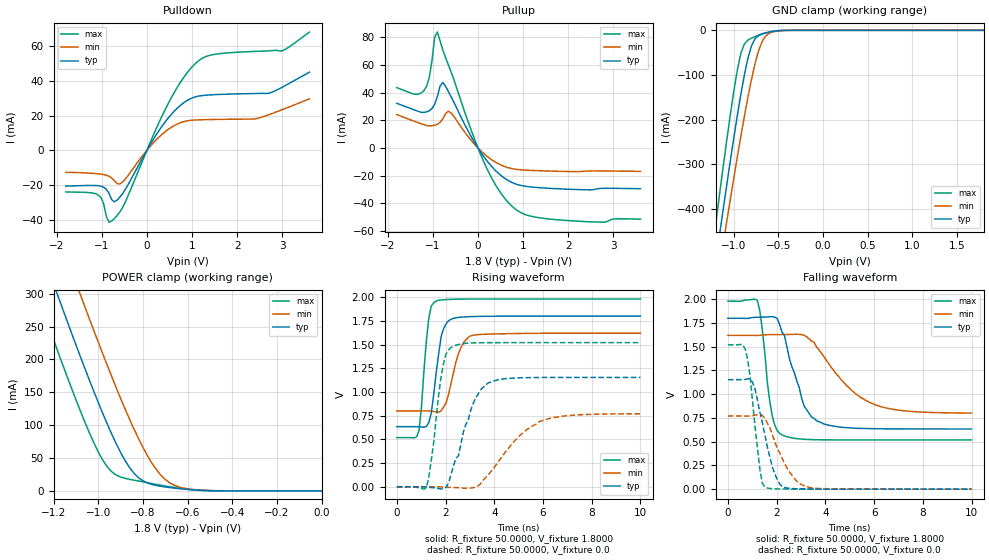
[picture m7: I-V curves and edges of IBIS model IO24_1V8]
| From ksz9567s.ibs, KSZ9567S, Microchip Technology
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|   Model IO24_1V8
[Model]  IO24_1V8
Model_type I/O
Polarity   Non-Inverting
Enable   Active-High
Vinl =   0.3000V
Vinh =   1.5000V
Vmeas =  0.9000V
Vref =   0.0V
C_comp   1.5000pF   1.4000pF   1.7000pF
[Temperature Range]   42.0000   0.1250k   -40.0000
[Voltage Range]   1.8000V   1.6200V   1.9800V
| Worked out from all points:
|   slope of the pulldown table from 0 to 0.27 V, typ, clamps not added: 23.6 ohm
|   slope of the pullup table from 0 to 0.27 V, typ, clamps not added: 22.3 ohm
|   GND clamp passes 1 mA (typ) near -0.50 V on its own axis
|   POWER clamp passes 1 mA (typ) near -0.54 V on its own axis
|   rising waveform, R_fixture 50.0000, V_fixture 1.8000: 20-80 % time 350ps typ, 502ps min, 274ps max; typ from 0.634 V to 1.8 V
|   rising waveform, R_fixture 50.0000, V_fixture 0.0: 20-80 % time 871ps typ, 1.57ns min, 429ps max; typ from 0 V to 1.15 V
|   falling waveform, R_fixture 50.0000, V_fixture 1.8000: 20-80 % time 787ps typ, 1.69ns min, 386ps max; typ from 1.8 V to 0.634 V
|   falling waveform, R_fixture 50.0000, V_fixture 0.0: 20-80 % time 604ps typ, 843ps min, 374ps max; typ from 1.15 V to 0 V
[Pulldown]
|Voltage   I(typ)   I(min)   I(max)
-1.8V     -20.68mA   -12.73mA   -24.06mA
-1.08V    -20.48mA   -13.6mA    -25.79mA
-960mV    -21.31mA   -14.05mA   -30.81mA
-840mV    -24.97mA   -15mA      -41.52mA
-780mV    -28.55mA   -15.99mA   -40.76mA
-540mV    -25.06mA   -18.33mA   -33.04mA
480mV     18.87mA    12.2mA     27.35mA
1.08V     30.86mA    17.49mA    50.21mA
1.5V      32.1mA     17.78mA    55.36mA
2.7V      32.93mA    20.5mA     57.4mA
3.06V     37.27mA    24.07mA    58.15mA
3.6V      45.07mA    29.7mA     68.21mA
[Pullup]
|Voltage   I(typ)   I(min)   I(max)
-1.8V     32.36mA    24.21mA    43.7mA
-1.2V     25.82mA    16.95mA    41.47mA
-1.08V    27.03mA    16.09mA    51.07mA
-960mV    31.7mA     16.47mA    80.28mA
-900mV    37.4mA     17.2mA     83.88mA
-780mV    47.46mA    21.19mA    70.95mA
-600mV    37.26mA    25.51mA    55.28mA
60mV      -3.015mA   -1.949mA   -4.832mA
360mV     -15.38mA   -9.681mA   -25.1mA
720mV     -24.41mA   -14.67mA   -41.07mA
1.56V     -29.12mA   -16.63mA   -51.25mA
3.6V      -29.42mA   -16.87mA   -51.46mA
[GND_clamp]
|Voltage   I(typ)   I(min)   I(max)
-1.8V     -1.402A    -1.382A    -1.408A
-1.2V     -519mA     -585.5mA   -433.8mA
-1.16V    -462.4mA   -534.2mA   -371.8mA
-1.12V    -406.4mA   -483.2mA   -310.8mA
-1.08V    -351.1mA   -432.8mA   -251.2mA
-960mV    -193.1mA   -285.7mA   -90.91mA
-920mV    -144.7mA   -238.8mA   -52.72mA
-840mV    -62.73mA   -150.4mA   -21.84mA
-720mV    -11.33mA   -45.61mA   -11.09mA
-640mV    -5.456mA   -12.39mA   -5.874mA
-560mV    -2.331mA   -3.309mA   -2.15mA
1.8V      122.4pA    185.7nA    65.4pA
[POWER_clamp]
|Voltage   I(typ)   I(min)   I(max)
-1.8V     881.4mA    962mA      809.5mA
-1.28V    390.7mA    482.8mA    306.2mA
-1.26V    371.8mA    464.4mA    287.1mA
-1.18V    296.5mA    390.8mA    211.5mA
-1.08V    204.5mA    298.8mA    121.8mA
-980mV    118.3mA    209mA      47.15mA
-920mV    72.28mA    157.6mA    24.3mA
-820mV    20.24mA    80mA       15.13mA
-740mV    8.328mA    32.55mA    9.886mA
-660mV    4.362mA    8.687mA    5.257mA
-500mV    405.6uA    618.3uA    222.8uA
0V        122.4pA    2.413nA    84.24pA
[Ramp]
| variable   typ   min   max
dV/dt_r  0.6920/0.8389n   0.4618/1.5375n   0.9123/0.4125n
dV/dt_f  0.6997/0.8485n   0.4913/1.6746n   0.8770/0.3990n
R_load = 50.0000
[Rising Waveform]
R_fixture= 50.0000
V_fixture= 1.8000
V_fixture_min= 1.6200
V_fixture_max= 1.9800
|time   V(typ)   V(min)   V(max)
0s        633.8mV    799.4mV    518.3mV
910ps     633.2mV    799.5mV    591.9mV
1.31ns    673.7mV    799.6mV    1.772V
1.41ns    769.8mV    797.2mV    1.903V
1.62ns    1.212V     789.1mV    1.96V
1.82ns    1.586V     800.9mV    1.97V
2.02ns    1.718V     882.1mV    1.975V
2.53ns    1.787V     1.405V     1.979V
3.03ns    1.794V     1.592V     1.98V
10ns      1.8V       1.62V      1.98V
[Rising Waveform]
R_fixture= 50.0000
V_fixture= 0.0
V_fixture_min= 0.0
V_fixture_max= 0.0
|time   V(typ)   V(min)   V(max)
0s        512.5nV    492nV      -959.7nV
1.21ns    -3.091mV   -5.399uV   -12.7mV
1.52ns    -10.44mV   387.9uV    480.4mV
1.82ns    -24.28mV   -2.147mV   1.167V
2.02ns    -6.466mV   -4.995mV   1.4V
2.22ns    124.7mV    -7.354mV   1.469V
3.13ns    875.4mV    -10.4mV    1.517V
3.74ns    1.093V     118.3mV    1.52V
5.86ns    1.152V     688.9mV    1.52V
10ns      1.153V     769.7mV    1.52V
[Falling Waveform]
R_fixture= 50.0000
V_fixture= 1.8000
V_fixture_min= 1.6200
V_fixture_max= 1.9800
|time   V(typ)   V(min)   V(max)
0s        1.8V       1.62V      1.98V
1.21ns    1.811V     1.619V     1.985V
1.41ns    1.812V     1.623V     1.683V
1.62ns    1.814V     1.627V     1.119V
1.82ns    1.817V     1.628V     771.2mV
2.22ns    1.654V     1.628V     570.9mV
3.13ns    874.4mV    1.621V     525.2mV
3.64ns    720.9mV    1.497V     520.6mV
5.86ns    637.5mV    908.3mV    518.3mV
10ns      633.8mV    801.1mV    518.3mV
[Falling Waveform]
R_fixture= 50.0000
V_fixture= 0.0
V_fixture_min= 0.0
V_fixture_max= 0.0
|time   V(typ)   V(min)   V(max)
0s        1.153V     770.3mV    1.52V
710ps     1.156V     770.2mV    1.474V
910ps     1.16V      770.1mV    1.19V
1.11ns    1.057V     778.9mV    666.4mV
1.31ns    814.2mV    787.5mV    212.1mV
1.52ns    568.6mV    745.7mV    18.29mV
2.12ns    55.83mV    384.3mV    2.497mV
2.73ns    4.892mV    112.7mV    655.4uV
3.23ns    2.44mV     26.4mV     205.9uV
10ns      -245.6nV   12.67uV    -136.3nV
